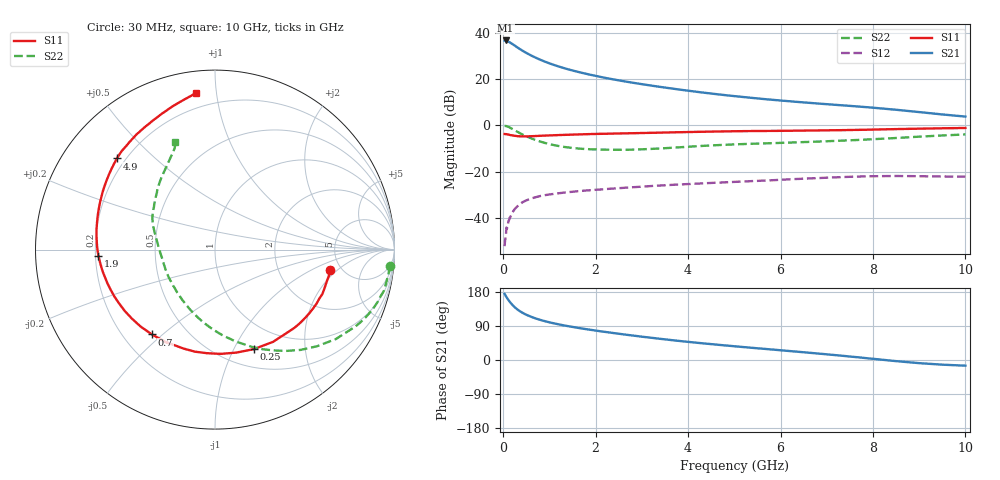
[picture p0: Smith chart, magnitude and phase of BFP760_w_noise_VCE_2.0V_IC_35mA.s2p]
! Infineon Technologies  Discrete & RF Semiconductors
! BFP760
! VCE =  2.0 V,  IC =  35 mA
! Common Emitter S-Parameters:  Nov 2012
# GHz  S  MA  R  50
!  f  S11  S21  S12  S22
! GHz  MAG  ANG  MAG  ANG  MAG  ANG  MAG  ANG
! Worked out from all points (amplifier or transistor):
!   99 points, 30 MHz to 10 GHz, reference 50 ohm
!   highest |S21| = 36.9 dB at 50 MHz (marker M1)
!   |S21| within 3 dB of that: start of sweep to 305.5 MHz
!   unconditionally stable (mu >= 1): 4.018 GHz to end of sweep
!   at 350 MHz: K = 0.30, MSG = 33.8 dB, |S12| = -34.3 dB
!   at 3.5 GHz: K = 0.95, MSG = 21.2 dB, |S12| = -26.0 dB
!   at 10 GHz: K = 1.07, MAG = 11.3 dB, |S12| = -22.2 dB
!   lowest NFmin = 0.83 dB at 900 MHz
!   S11 on the Smith chart (normalised r, x): 30 MHz: 4.10, -1.58; 250 MHz: 0.70, -1.20; 700 MHz: 0.32, -0.46; 1.9 GHz: 0.21, -0.03; 4.9 GHz: 0.17, +0.38; 10 GHz: 0.11, +0.88
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0.03  0.6516 -9.8  69.7 174.5  0.0024 90.3  0.9764 -5.3
0.05  0.6474 -16.0  69.88 169.9  0.0036 93.4  0.9735 -9.4
0.1  0.637 -31.3  66.84 160.5  0.0071 77.7  0.9441 -19.6
0.15  0.6196 -45.4  62.77 152.2  0.0101 73.5  0.8928 -28.6
0.2  0.6072 -57.8  58.27 145.2  0.013 66.4  0.8378 -36.5
0.25  0.5954 -68.7  54 139.2  0.0154 61.6  0.7834 -43.4
0.35  0.5818 -87.0  46.16 129.6  0.0193 56.6  0.6893 -55.0
0.45  0.5795 -101.2  40.03 122.4  0.0224 51.7  0.6141 -64.6
0.6  0.5835 -117.9  33.12 114.2  0.0259 46.7  0.5271 -76.9
0.7  0.5891 -126.6  29.6 109.7  0.0277 43.7  0.4833 -84.3
0.9  0.6019 -140.3  24.31 102.5  0.0307 40.1  0.4176 -97.4
1.1  0.6129 -150.8  20.53 96.6  0.0328 37.7  0.3737 -108.8
1.4  0.628 -162.6  16.58 89.4  0.0356 35.5  0.3339 -123.2
1.7  0.6414 -171.8  13.89 83.2  0.038 34.3  0.3111 -135.7
1.9  0.6501 -177.0  12.51 79.5  0.0394 33.8  0.3034 -143.2
2.6  0.6724 168.3  9.143 67.7  0.0442 32.5  0.2964 -164.7
3.4  0.6985 154.8  6.857 55.8  0.0497 31.3  0.3173 176.1
4.9  0.7458 137.1  4.44 37.4  0.0589 28.4  0.3845 154.9
5.1  0.7506 135.4  4.23 35.2  0.0601 28.0  0.3916 152.9
6.7  0.7776 123.8  3.051 18.3  0.0714 23.5  0.4426 138.1
8.5  0.8333 106.3  2.19 -3.0  0.08 12.7  0.5338 120.6
10  0.8809 96.8  1.557 -15.0  0.0777 7.9  0.6378 110.2
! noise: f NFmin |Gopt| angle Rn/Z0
0.9  0.83  0.2  -166  0.09
1.8  0.88  0.21  -158  0.07
2.4  0.92  0.22  -148  0.08
3.5  1.04  0.22  -138  0.13
5.5  1.28  0.29  -90  0.41
8  1.54  0.41  -68  0.48
